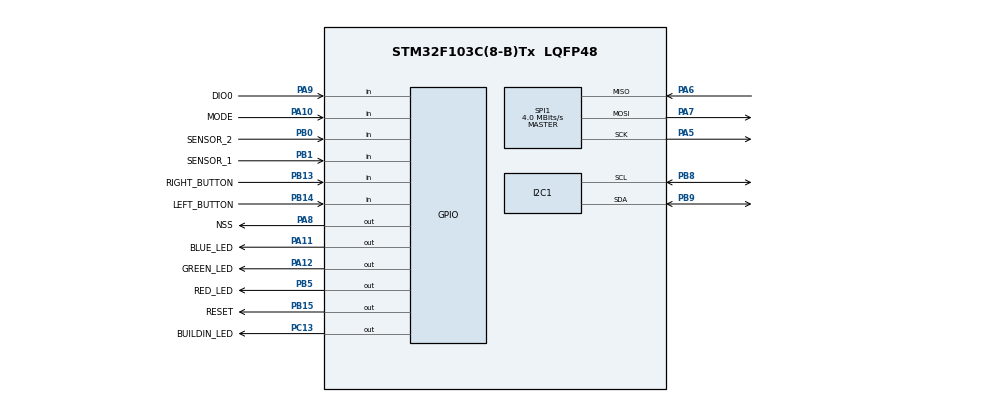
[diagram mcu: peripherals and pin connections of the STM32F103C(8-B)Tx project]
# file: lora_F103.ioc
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Mcu.Family=STM32F1
Mcu.Name=STM32F103C(8-B)Tx
Mcu.Package=LQFP48
NVIC.PriorityGroup=NVIC_PRIORITYGROUP_4
PA10.GPIO_Label=MODE
PA10.GPIO_PuPd=GPIO_PULLDOWN
PA10.Signal=GPIO_Input
PA11.GPIO_Label=BLUE_LED
PA11.Signal=GPIO_Output
PA12.GPIO_Label=GREEN_LED
PA12.Signal=GPIO_Output
PA5.Mode=Full_Duplex_Master
PA5.Signal=SPI1_SCK
PA6.Mode=Full_Duplex_Master
PA6.Signal=SPI1_MISO
PA7.Mode=Full_Duplex_Master
PA7.Signal=SPI1_MOSI
PA8.GPIO_Label=NSS
PA8.Signal=GPIO_Output
PA9.GPIO_Label=DIO0
PA9.GPIO_PuPd=GPIO_PULLDOWN
PA9.Signal=GPIO_Input
PB0.GPIO_Label=SENSOR_2
PB0.GPIO_PuPd=GPIO_PULLDOWN
PB0.Signal=GPIO_Input
PB1.GPIO_Label=SENSOR_1
PB1.GPIO_PuPd=GPIO_PULLDOWN
PB1.Signal=GPIO_Input
PB13.GPIO_Label=RIGHT_BUTTON
PB13.GPIO_PuPd=GPIO_PULLDOWN
PB13.Signal=GPIO_Input
PB14.GPIO_Label=LEFT_BUTTON
PB14.GPIO_PuPd=GPIO_PULLDOWN
PB14.Signal=GPIO_Input
PB15.GPIO_Label=RESET
PB15.Signal=GPIO_Output
PB5.GPIO_Label=RED_LED
PB5.Signal=GPIO_Output
PB8.Mode=I2C
PB8.Signal=I2C1_SCL
PB9.Mode=I2C
PB9.Signal=I2C1_SDA
PC13-TAMPER-RTC.GPIO_Label=BUILDIN_LED
PC13-TAMPER-RTC.Signal=GPIO_Output
ProjectManager.HeapSize=0x200
ProjectManager.StackSize=0x400
ProjectManager.TargetToolchain=STM32CubeIDE
RCC.APB1Freq_Value=8000000
RCC.APB2Freq_Value=8000000
SPI1.CalculateBaudRate=4.0 MBits/s
SPI1.Direction=SPI_DIRECTION_2LINES
SPI1.Mode=SPI_MODE_MASTER
SPI1.VirtualType=VM_MASTER
board=custom

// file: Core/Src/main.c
/* USER CODE BEGIN Header */
/**
 ******************************************************************************
 * @file           : main.c
 * @brief          : Main program body
 ******************************************************************************
 * @attention
 *
 * Copyright (c) 2024 STMicroelectronics.
 * All rights reserved.
 *
 * This software is licensed under terms that can be found in the LICENSE file
 * in the root directory of this software component.
 * If no LICENSE file comes with this software, it is provided AS-IS.
 *
 ******************************************************************************
 */
/* USER CODE END Header */
#include "main.h"
#include "i2c.h"
#include "spi.h"
#include "gpio.h"

/* USER CODE BEGIN Includes */
#include "ssd1306.h"
#include "ssd1306_fonts.h"
#include "SX1278.h"
#include <stdbool.h>
#include <stdio.h>
#include <string.h>
/* USER CODE END Includes */

/* USER CODE BEGIN PTD */
typedef enum {_TRANSMITER, _RECEIVER}
_mode;

typedef enum {_MAIN, _SELECT_MODE, _MENU, _SEND_CMD, _OPTIONS}
_screen;

typedef enum {_LEFT_BUTTON, _RIGHT_BUTTON}
_button;

SX1278_hw_t SX1278_hw;
SX1278_t SX1278;

int master;
int ret;

char buffer[512];

int message;
int message_length;

bool leftButtonPressed = false;
bool rightButtonPressed = false;
bool newMsgCome = false;

bool txInitialized = false, rxInitialized = false;
/* USER CODE END PTD */

void SystemClock_Config(void);

/* USER CODE BEGIN 0 */

void HAL_GPIO_EXTI_Callback(uint16_t GPIO_Pin){
	rightButtonPressed = (GPIO_Pin == RIGHT_BUTTON_Pin);
	leftButtonPressed = (GPIO_Pin == LEFT_BUTTON_Pin);
	newMsgCome = (GPIO_Pin == DIO0_Pin);
}

void assembleAndPutTextIntoDisplay(_mode loraMode, char * txt1, char * txt2, char * txt3){

	ssd1306_Fill(Black);

	uint8_t fontHeight = 10, lineNo, initX = 5, initY = 5;

	lineNo = 0;
	ssd1306_SetCursor(initX, initY + (fontHeight + 1)* lineNo);
	if(loraMode == _TRANSMITER){
		ssd1306_WriteString("M: TRANSMITER", Font_7x10, White);
	}
	else if(loraMode == _RECEIVER){
		ssd1306_WriteString("M: RECEIVER", Font_7x10, White);
	}

	lineNo = 1;
	ssd1306_SetCursor(initX, initY + (fontHeight + 1)* lineNo);
	ssd1306_WriteString(txt1, Font_7x10, White);

	lineNo = 2;
	ssd1306_SetCursor(initX, initY + (fontHeight + 1)* lineNo);
	ssd1306_WriteString(txt2, Font_7x10, White);

	ssd1306_UpdateScreen();
}

void writeLineByLine(char * txt, char * txt1, char * txt2, char * txt3){

	ssd1306_Fill(Black);

	uint8_t fontHeight = 10, lineNo, initX = 5, initY = 5;

	lineNo = 0;
	ssd1306_SetCursor(initX, initY + (fontHeight + 1)* lineNo);
	ssd1306_WriteString(txt, Font_7x10, White);

	lineNo = 1;
	ssd1306_SetCursor(initX, initY + (fontHeight + 1)* lineNo);
	ssd1306_WriteString(txt1, Font_7x10, White);

	lineNo = 2;
	ssd1306_SetCursor(initX, initY + (fontHeight + 1)* lineNo);
	ssd1306_WriteString(txt2, Font_7x10, White);

	ssd1306_UpdateScreen();
}

bool isButtonPressed(_button b){

	uint32_t debounceTime_ms = 50;
	uint32_t pressingTime_ms = 100;
	switch(b){
	case _LEFT_BUTTON:
		if(HAL_GPIO_ReadPin(LEFT_BUTTON_GPIO_Port, LEFT_BUTTON_Pin) == GPIO_PIN_SET){
			HAL_Delay(debounceTime_ms);
			if(HAL_GPIO_ReadPin(LEFT_BUTTON_GPIO_Port, LEFT_BUTTON_Pin) == GPIO_PIN_SET){
				HAL_Delay(pressingTime_ms);
				return true;
			}
		}
		break;
	case _RIGHT_BUTTON:
		if(HAL_GPIO_ReadPin(RIGHT_BUTTON_GPIO_Port, RIGHT_BUTTON_Pin) == GPIO_PIN_SET){
			HAL_Delay(debounceTime_ms);
			if(HAL_GPIO_ReadPin(RIGHT_BUTTON_GPIO_Port, RIGHT_BUTTON_Pin) == GPIO_PIN_SET){
				HAL_Delay(pressingTime_ms);
				return true;
			}
		}
		break;
	}
	return false;
}

void sendMsg_Basic(char * msg){
	if(!txInitialized){
		ret = SX1278_LoRaEntryTx(&SX1278, 16, 2000);
		txInitialized = true;
		rxInitialized = false;
	}

	message_length = sprintf(buffer, msg);
	ret = SX1278_LoRaEntryTx(&SX1278, message_length, 2000);

	ret = SX1278_LoRaTxPacket(&SX1278, (uint8_t*) buffer,
			message_length, 2000);
}

bool readMsg(){
	if(!rxInitialized){
		ret = SX1278_LoRaEntryRx(&SX1278, 16, 2000);
		rxInitialized = true;
		txInitialized = false;
	}

	ret = SX1278_LoRaRxPacket(&SX1278);
	if (ret > 0) {
		SX1278_read(&SX1278, (uint8_t*) buffer, ret);
		return true;
	}
	return false;
}

void displayMainScreen(){

}
/* USER CODE END 0 */

int main(void)
{

	/* MCU Configuration--------------------------------------------------------*/

	/* Reset of all peripherals, Initializes the Flash interface and the Systick. */
	HAL_Init();

	/* Configure the system clock */
	SystemClock_Config();

	/* Initialize all configured peripherals */
	MX_GPIO_Init();
	MX_I2C1_Init();
	MX_SPI1_Init();
	/* USER CODE BEGIN 2 */

	_mode loraMode;
	_screen currentScreen = _MAIN;
	uint8_t option = 0, cmdNo = 0;
	bool newMsg = false;
	bool sendMsg = false;

	ssd1306_Init();

	ssd1306_Fill(Black);

	ssd1306_SetCursor(45, 20);
	ssd1306_WriteString("HELLO", Font_7x10, White);
	ssd1306_UpdateScreen();

	if(HAL_GPIO_ReadPin(MODE_GPIO_Port, MODE_Pin) == GPIO_PIN_SET){
		loraMode = _TRANSMITER;
	}
	else{
		loraMode = _RECEIVER;
	}

	uint32_t newMsgDispTime, currTime, openWindowStart_IN, openWindowStart_OUT, deadTime;
	newMsgDispTime = currTime = openWindowStart_IN = openWindowStart_OUT = deadTime = HAL_GetTick();

	bool beSensitiveForSignal = true;

	//initialize LoRa module
	SX1278_hw.dio0.port = DIO0_GPIO_Port;
	SX1278_hw.dio0.pin = DIO0_Pin;
	SX1278_hw.nss.port = NSS_GPIO_Port;
	SX1278_hw.nss.pin = NSS_Pin;
	SX1278_hw.reset.port = RESET_GPIO_Port;
	SX1278_hw.reset.pin = RESET_Pin;
	SX1278_hw.spi = &hspi1;

	SX1278.hw = &SX1278_hw;

	SX1278_init(&SX1278, 434000000, SX1278_POWER_17DBM, SX1278_LORA_SF_7,
			SX1278_LORA_BW_125KHZ, SX1278_LORA_CR_4_5, SX1278_LORA_CRC_EN, 10);

	if (loraMode == _TRANSMITER) {
		ret = SX1278_LoRaEntryTx(&SX1278, 16, 2000);
		txInitialized = true;
	} else {
		ret = SX1278_LoRaEntryRx(&SX1278, 16, 2000);
		rxInitialized = true;
	}

	HAL_Delay(1000);

	/* USER CODE END 2 */

	/* Infinite loop */
	/* USER CODE BEGIN WHILE */
	while (1)
	{
		currTime = HAL_GetTick();

		//				if(HAL_GPIO_ReadPin(SENSOR_1_GPIO_Port, SENSOR_1_Pin) == GPIO_PIN_SET){
		//					HAL_GPIO_WritePin(BUILDIN_LED_GPIO_Port, BUILDIN_LED_Pin, GPIO_PIN_RESET);
		//				}
		//				else{
		//					HAL_GPIO_WritePin(BUILDIN_LED_GPIO_Port, BUILDIN_LED_Pin, GPIO_PIN_SET);
		//				}
		//
		//				if(!(HAL_GPIO_ReadPin(SENSOR_2_GPIO_Port, SENSOR_2_Pin) == GPIO_PIN_SET)){
		//					HAL_GPIO_WritePin(RED_LED_GPIO_Port, RED_LED_Pin, GPIO_PIN_RESET);
		//				}
		//				else{
		//					HAL_GPIO_WritePin(RED_LED_GPIO_Port, RED_LED_Pin, GPIO_PIN_SET);
		//				}

		switch(loraMode){

		case _RECEIVER:
			HAL_GPIO_WritePin(GREEN_LED_GPIO_Port, GREEN_LED_Pin, GPIO_PIN_SET);
			HAL_GPIO_WritePin(BLUE_LED_GPIO_Port, BLUE_LED_Pin, GPIO_PIN_RESET);

			if(readMsg()){
				newMsgDispTime = HAL_GetTick();
				if(strcmp(buffer, "LED ON") == 0){
					HAL_GPIO_WritePin(RED_LED_GPIO_Port, RED_LED_Pin, GPIO_PIN_SET);
				}
				else if(strcmp(buffer, "LED OFF") == 0){
					HAL_GPIO_WritePin(RED_LED_GPIO_Port, RED_LED_Pin, GPIO_PIN_RESET);
				}
			}

			break;

		case _TRANSMITER:
			HAL_GPIO_WritePin(GREEN_LED_GPIO_Port, GREEN_LED_Pin, GPIO_PIN_RESET);
			HAL_GPIO_WritePin(BLUE_LED_GPIO_Port, BLUE_LED_Pin, GPIO_PIN_SET);

			if((HAL_GPIO_ReadPin(SENSOR_1_GPIO_Port, SENSOR_1_Pin) == GPIO_PIN_RESET) && beSensitiveForSignal){
				openWindowStart_IN = HAL_GetTick();
				beSensitiveForSignal = false;
			}

			if(currTime - openWindowStart_IN < 500){
				if((HAL_GPIO_ReadPin(SENSOR_2_GPIO_Port, SENSOR_2_Pin) == GPIO_PIN_RESET)){
					sprintf(buffer, "LED ON");
					sendMsg = true;
					deadTime = HAL_GetTick();
				}
			}

			if(((HAL_GPIO_ReadPin(SENSOR_2_GPIO_Port, SENSOR_2_Pin) == GPIO_PIN_RESET)) && beSensitiveForSignal){
				openWindowStart_OUT = HAL_GetTick();
				beSensitiveForSignal = false;
			}

			if(currTime - openWindowStart_OUT < 500){
				if(HAL_GPIO_ReadPin(SENSOR_1_GPIO_Port, SENSOR_1_Pin) == GPIO_PIN_RESET){
					sprintf(buffer, "LED OFF");
					sendMsg = true;
					deadTime = HAL_GetTick();
				}
			}

			if((HAL_GPIO_ReadPin(SENSOR_2_GPIO_Port, SENSOR_2_Pin) == GPIO_PIN_SET) &&
					HAL_GPIO_ReadPin(SENSOR_1_GPIO_Port, SENSOR_1_Pin) == GPIO_PIN_SET &&
					currTime - deadTime > 1000){
				beSensitiveForSignal = true;
			}

			if(sendMsg){
				sendMsg_Basic(buffer);
				sendMsg = false;
			}
			break;
		}

		switch(currentScreen){
		case _MAIN:
			if(currTime - newMsgDispTime < 1000){
				assembleAndPutTextIntoDisplay(loraMode, "New msg:", buffer, "");
			}
			else{
				assembleAndPutTextIntoDisplay(loraMode, "","","");
			}
			if(isButtonPressed(_LEFT_BUTTON)){
				currentScreen = _MENU;
			}
			break;

		case _MENU:
			if(option == 0){
				writeLineByLine("->Select mode", "Send cmd", "Options", "");
				if(isButtonPressed(_LEFT_BUTTON)){
					currentScreen = _SELECT_MODE;
					option = 0;
				}
			}
			else if(option == 1){
				writeLineByLine("Select mode", "->Send cmd", "Options", "");
				if(isButtonPressed(_LEFT_BUTTON)){
					currentScreen = _SEND_CMD;
					option = 0;
				}
			}
			else if(option == 2){
				writeLineByLine("Select mode", "Send cmd", "->Options", "");
				if(isButtonPressed(_LEFT_BUTTON)){
					currentScreen = _OPTIONS;
					option = 0;
				}
			}

			if(isButtonPressed(_RIGHT_BUTTON)){
				option = (option + 1)%3;
			}
			break;

		case _SELECT_MODE:
			if(option == 0){
				writeLineByLine("->RECEIVER", "TRANSMITER", "", "");
				if(isButtonPressed(_LEFT_BUTTON)){
					loraMode = _RECEIVER;
					currentScreen = _MAIN;
					option = 0;
				}
			}
			else if(option == 1){
				writeLineByLine("RECEIVER", "->TRANSMITER", "", "");
				if(isButtonPressed(_LEFT_BUTTON)){
					loraMode = _TRANSMITER;
					currentScreen = _MAIN;
					option = 0;
				}
			}

			if(isButtonPressed(_RIGHT_BUTTON)){
				option = (option + 1)%2;
			}

			break;

		case _SEND_CMD:
			if(option == 0){
				writeLineByLine("->LED ON", "LED OFF", "", "");
				if(isButtonPressed(_LEFT_BUTTON)){
					sprintf(buffer, "LED ON");
					sendMsg = true;
					currentScreen = _MAIN;
					option = 0;

					writeLineByLine("", "Msg sent!", "(Perharps)", "");
					HAL_Delay(1000);
					currentScreen = _MAIN;
				}
			}
			else if(option == 1){
				writeLineByLine("LED ON", "->LED OFF", "", "");
				if(isButtonPressed(_LEFT_BUTTON)){
					sprintf(buffer, "LED OFF");
					sendMsg = true;
					currentScreen = _MAIN;
					option = 0;

					writeLineByLine("", "Msg sent!", "(Perharps)", "");
					HAL_Delay(1000);
					currentScreen = _MAIN;
				}
			}

			if(isButtonPressed(_RIGHT_BUTTON)){
				option = (option + 1)%2;
			}
			break;

		case _OPTIONS:
			writeLineByLine("Nothing is", "written here", "yet :)", "");
			HAL_Delay(1000);
			currentScreen = _MAIN;
			break;

		}

		/* USER CODE END WHILE */

	}
}

void SystemClock_Config(void)
{
	RCC_OscInitTypeDef RCC_OscInitStruct = {0};
	RCC_ClkInitTypeDef RCC_ClkInitStruct = {0};

	/** Initializes the RCC Oscillators according to the specified parameters
	 * in the RCC_OscInitTypeDef structure.
	 */
	RCC_OscInitStruct.OscillatorType = RCC_OSCILLATORTYPE_HSI;
	RCC_OscInitStruct.HSIState = RCC_HSI_ON;
	RCC_OscInitStruct.HSICalibrationValue = RCC_HSICALIBRATION_DEFAULT;
	RCC_OscInitStruct.PLL.PLLState = RCC_PLL_NONE;
	if (HAL_RCC_OscConfig(&RCC_OscInitStruct) != HAL_OK)
	{
		Error_Handler();
	}

	/** Initializes the CPU, AHB and APB buses clocks
	 */
	RCC_ClkInitStruct.ClockType = RCC_CLOCKTYPE_HCLK|RCC_CLOCKTYPE_SYSCLK
			|RCC_CLOCKTYPE_PCLK1|RCC_CLOCKTYPE_PCLK2;
	RCC_ClkInitStruct.SYSCLKSource = RCC_SYSCLKSOURCE_HSI;
	RCC_ClkInitStruct.AHBCLKDivider = RCC_SYSCLK_DIV1;
	RCC_ClkInitStruct.APB1CLKDivider = RCC_HCLK_DIV1;
	RCC_ClkInitStruct.APB2CLKDivider = RCC_HCLK_DIV1;

	if (HAL_RCC_ClockConfig(&RCC_ClkInitStruct, FLASH_LATENCY_0) != HAL_OK)
	{
		Error_Handler();
	}
}

void Error_Handler(void)
{
	__disable_irq();
	while (1)
	{
	}
}
